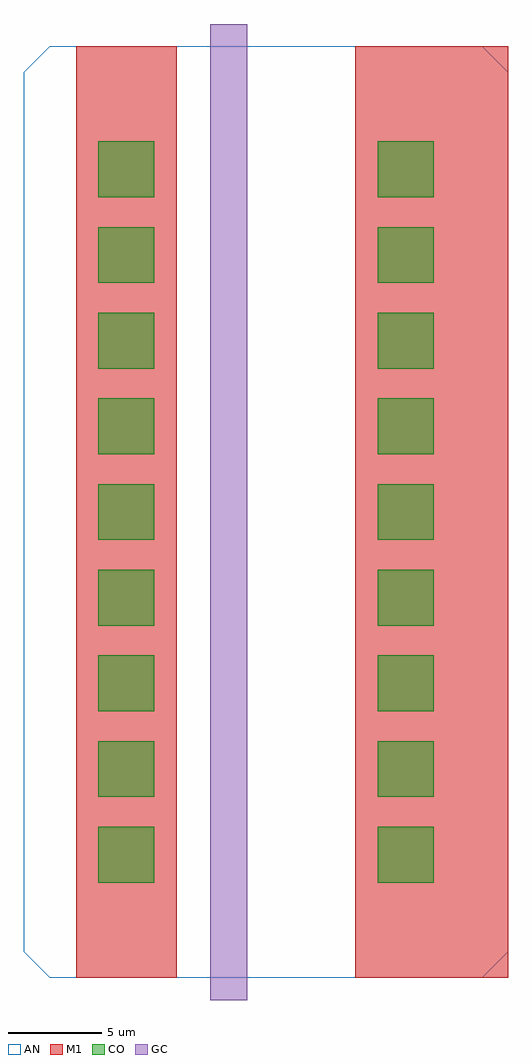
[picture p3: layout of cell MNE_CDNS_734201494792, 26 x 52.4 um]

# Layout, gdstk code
import gdstk
lib = gdstk.Library(unit=1e-6, precision=1e-09)
def R(c, l, rs):  # rectangles x0, y0, x1, y1
    for r in rs: c.add(gdstk.rectangle(r[:2], r[2:], *l))
def A(c, l, x, y, w, h, nx, ny, dx, dy):  # array of equal rectangles
    R(c, l, [(x+i*dx, y+j*dy, x+i*dx+w, y+j*dy+h) for i in range(nx) for j in range(ny)])
def P(c, l, *ps):  # polygons
    for p in ps: c.add(gdstk.Polygon(p, *l))
AN = (3, 2)
GC = (8, 1)
CO = (11, 0)
M1 = (13, 0)

mne_cdns_734201494792 = lib.new_cell('MNE_CDNS_734201494792')
P(mne_cdns_734201494792, AN, [(1.4,0),(0,1.4),(0,48.6),(1.4,50),(24.6,50),(26,48.6),(26,1.4),(24.6,0)],
  [(1.4,0),(0,1.4),(0,48.6),(1.4,50),(24.6,50),(26,48.6),(26,1.4),(24.6,0)])
R(mne_cdns_734201494792, GC, [(10,-1.2,12,51.2)])
A(mne_cdns_734201494792, CO, 4, 5.1, 3, 3, 1, 9, 0, 4.6)
A(mne_cdns_734201494792, CO, 19, 5.1, 3, 3, 1, 9, 0, 4.6)
R(mne_cdns_734201494792, M1, [(2.8,0,8.2,50), (17.8,0,26,50)])

lib.write_gds('MNE_CDNS_734201494792.gds')
